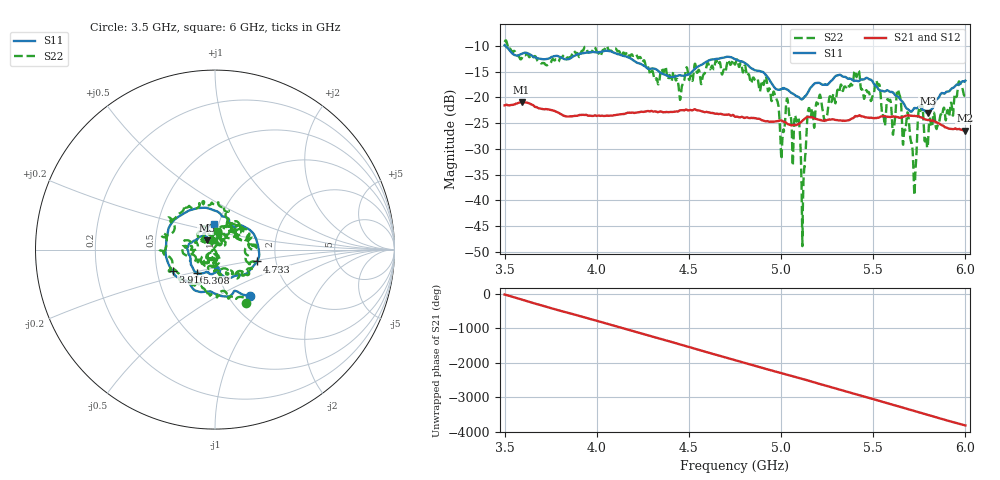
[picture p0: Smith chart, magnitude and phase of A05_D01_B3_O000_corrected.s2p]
! Created with skrf 1.9.0 (http://scikit-rf.org).
# Hz S RI R 50.0
!freq ReS11 ImS11 ReS21 ImS21 ReS12 ImS12 ReS22 ImS22
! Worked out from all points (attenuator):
!   1601 points, 3.5 GHz to 6 GHz, reference 50 ohm
!   highest |S21| = -20.92 dB at 3.592 GHz (marker M1); lowest = -26.5 dB at 5.997 GHz (marker M2)
!   lowest |S11| = -23.1 dB at 5.795 GHz (marker M3), VSWR 1.15, Z = 45.4 + j4.82 ohm
!   |S11| at or under -10 dB: 3.505 GHz to end of sweep
!   |S22| runs from -48.9 to -8.9 dB; largest |S21 - S12| = 0.0013
!   S11 on the Smith chart (normalised r, x): 3.5 GHz: 1.25, -0.72; 3.916 GHz: 0.60, -0.16; 4.733 GHz: 1.60, -0.22; 5.308 GHz: 0.79, -0.21; 6 GHz: 0.95, +0.28
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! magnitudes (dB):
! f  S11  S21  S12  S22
! 3.5 GHz  -9.9  -21.5  -21.5  -9.2
! 3.592 GHz  -11.5  -20.9  -20.9  -12.4
! 3.916 GHz  -11.5  -23.4  -23.4  -11.2
! 3.917 GHz  -11.5  -23.4  -23.4  -11.0
! 4.334 GHz  -14.9  -22.9  -22.8  -17.5
! 4.733 GHz  -12.2  -23.5  -23.5  -13.2
! 4.75 GHz  -12.6  -23.8  -23.7  -13.6
! 4.969 GHz  -18.3  -24.7  -24.6  -19.9
! 5.006 GHz  -18.3  -24.6  -24.5  -28.5
! 5.034 GHz  -18.5  -25.2  -25.1  -20.3
! 5.086 GHz  -19.8  -25.3  -25.3  -24.6
! 5.119 GHz  -20.2  -24.4  -24.4  -39.8
! 5.145 GHz  -19.1  -23.8  -23.8  -22.8
! 5.167 GHz  -17.8  -23.9  -23.9  -22.3
! 5.308 GHz  -15.7  -24.4  -24.4  -18.5
! 5.584 GHz  -18.8  -23.8  -23.8  -20.6
! 5.639 GHz  -20.0  -23.9  -23.9  -19.1
! 5.722 GHz  -22.1  -23.6  -23.6  -38.0
! 5.755 GHz  -21.8  -23.8  -23.8  -22.4
! 5.795 GHz  -23.1  -24.4  -24.4  -29.5
! 5.997 GHz  -16.9  -26.5  -26.4  -19.7
! 6 GHz  -16.8  -26.5  -26.4  -19.7
